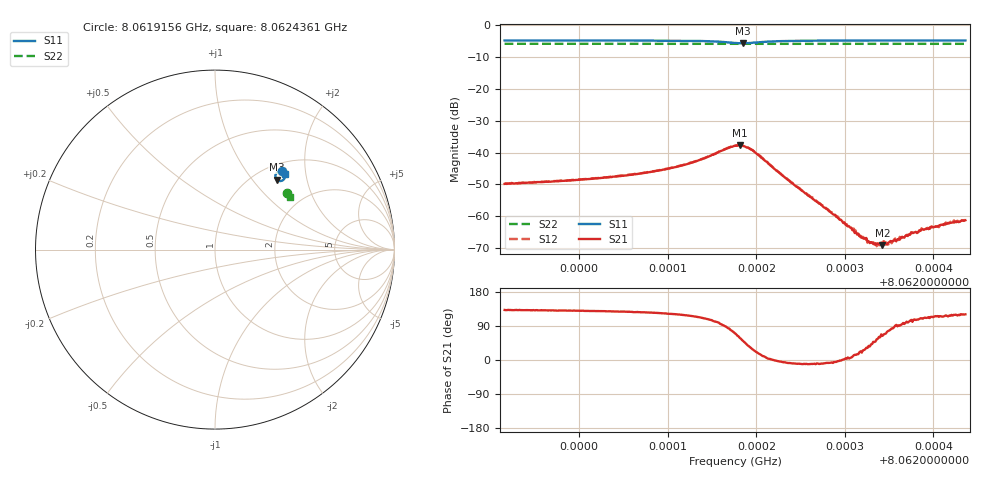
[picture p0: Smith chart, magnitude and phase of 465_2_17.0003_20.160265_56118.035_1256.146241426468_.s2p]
#  HZ  S  RI  R  50.00
! Rohde & Schwarz Vector Network Analyzer
! Rohde-Schwarz,ZNB20-2Port,1311601062101988,3.16
! Created: UTC 3/20/2024, 11:12:56 PM
! freq[Hz]  re:S11  im:S11  re:S21  im:S21  re:S12  im:S12  re:S22  im:S22
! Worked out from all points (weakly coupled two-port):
!   401 points, 8.0619156 GHz to 8.0624361 GHz, reference 50 ohm
!   highest |S21| = -37.70 dB at 8.062181 GHz (marker M1); lowest = -69.0 dB at 8.0623424 GHz (marker M2)
!   lowest |S11| = -5.7 dB at 8.0621849 GHz (marker M3), VSWR 3.17, Z = 62.8 + j67 ohm
!   |S11| at or under -10 dB: nowhere
!   |S22| runs from -5.9 to -5.8 dB; largest |S21 - S12| = 0.00087
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8.06191563e9  0.3716 0.4403  -0.00216 0.0024  -0.00204 0.00254  0.4007 0.3161
8.0620028e9  0.3779 0.4342  -0.00243 0.00291  -0.00227 0.00303  0.4039 0.3118
8.06205224e9  0.3822 0.4295  -0.00266 0.00349  -0.00247 0.00368  0.4057 0.3091
8.06208997e9  0.386 0.424  -0.00291 0.00437  -0.00269 0.00456  0.4072 0.307
8.0621303e9  0.3898 0.4125  -0.00302 0.00652  -0.00267 0.0068  0.4086 0.3046
8.06217584e9  0.3623 0.3819  0.00429 0.0121  0.00508 0.0118  0.4085 0.3015
8.06218104e9  0.3518 0.3844  0.00676 0.0111  0.00738 0.0109  0.4082 0.3015
8.06218495e9  0.3447 0.3892  0.00814 0.0098  0.00871 0.00944  0.408 0.3017
8.06219666e9  0.3364 0.411  0.00955 0.00474  0.00979 0.00418  0.4084 0.3022
8.06223048e9  0.3589 0.4351  0.00425 -0.000444  0.00426 -0.000682  0.4109 0.3014
8.06226301e9  0.3712 0.4346  0.00189 -0.000351  0.00195 -0.000469  0.4125 0.2996
8.06229424e9  0.3775 0.4323  0.000889 -2.02e-05  0.000878 -0.000113  0.4138 0.2979
8.06230594e9  0.3793 0.4313  0.000664 6.42e-05  0.000658 2.51e-05  0.4142 0.2971
8.06231245e9  0.3802 0.4309  0.000553 0.000133  0.000587 9.62e-05  0.4145 0.297
8.06232026e9  0.3811 0.4302  0.00041 0.000195  0.000453 0.000153  0.4149 0.2965
8.06232936e9  0.3822 0.4297  0.000296 0.000259  0.000306 0.000244  0.4151 0.2961
8.06233847e9  0.3832 0.429  0.000179 0.000323  0.000225 0.000272  0.4154 0.2956
8.06234237e9  0.3837 0.4288  0.000158 0.000319  0.000175 0.000329  0.4156 0.2955
8.06235018e9  0.3845 0.4282  8.25e-05 0.000388  0.000111 0.000397  0.4159 0.295
8.06238661e9  0.3877 0.4259  -0.000213 0.000585  -0.000206 0.000616  0.4172 0.293
8.06242174e9  0.3905 0.4237  -0.00037 0.000721  -0.00035 0.000724  0.4184 0.2912
8.06243605e9  0.3917 0.4228  -0.00044 0.00075  -0.000367 0.000755  0.419 0.2905
